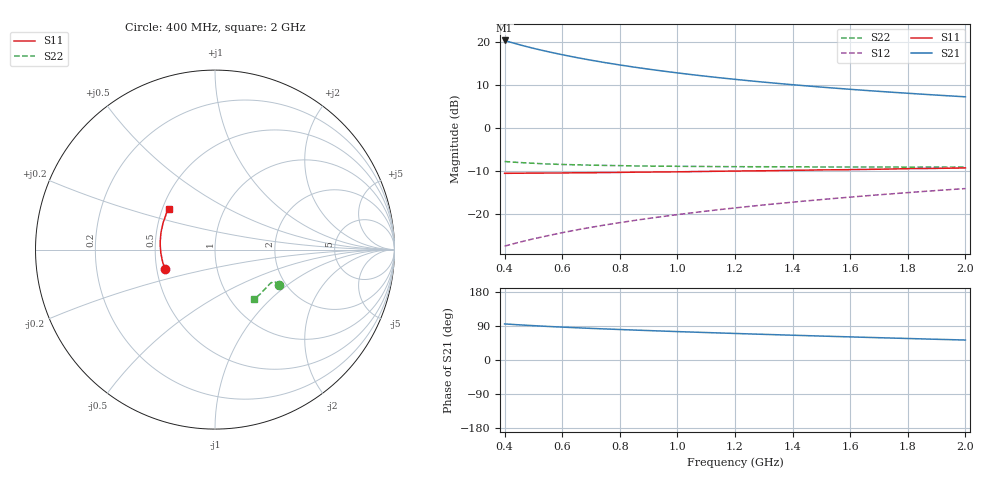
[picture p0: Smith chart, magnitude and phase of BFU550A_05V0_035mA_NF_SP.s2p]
! Filename:  P:\Prog\Test\Noise\ATS_data\Testdata_Net\06 Compressed Noise after Statistics\BFU550A_APG2013_35_C05_05p0V_035mA_NF_CM01_D.sf
! Date/Time: Tue 16/Apr/2013 15:11:27
! BFU550A_APG2013_35_C05_05p0V_1to35mA_NF_CM01_Bias8_R.sf
! Noise Parameter Data File
! BFU550A_APG2013_35_C05_05p0V_1to35mA_SP_CM01
! Date/time: Mon Apr 15 16:43:38 2013
! VAR V_out= 5.000000
! VAR I_out= 35.000000
! VAR V_in= 0.831500
! VAR I_in= 0.393200
! Device data file deembeded for feedlines and parallel
! Original file: \06 Compressed Noise after Statistics\BFU550A_APG2013_35_C05_05p0V_035mA_NF_CM01_R.sf
! Feed-files: PR017V01_150413_Feed1.s2p, PR017V01_150413_Feed2.s2p
! Parallel-file: PR017V01_150413_Par.s2p
# MHz S MA R 50
!  Freq-MHz  S11-mag  S11-arg  S21-mag  S21-arg  S12-mag  S12-arg  S22-mag  S22-arg
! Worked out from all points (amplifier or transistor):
!   37 points, 400 MHz to 2 GHz, reference 50 ohm
!   highest |S21| = 20.4 dB at 400 MHz (marker M1)
!   |S21| within 3 dB of that: start of sweep to 578 MHz
!   unconditionally stable (mu >= 1): 580.9 MHz to 1.545 GHz
!   at 500 MHz: K = 0.99, MSG = 22.2 dB, |S12| = -25.8 dB
!   at 1.1 GHz: K = 1.02, MAG = 14.9 dB, |S12| = -19.3 dB
!   at 2 GHz: K = 0.97, MSG = 10.7 dB, |S12| = -14.1 dB
!   lowest NFmin = 1.37 dB at 400 MHz
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400  0.2978 -158.9  10.46 95.3  0.04232 74.2  0.4091 -28.8
420  0.298 -160.8  9.994 94.2  0.04418 74.5  0.4041 -28.7
440  0.2987 -162.6  9.57 93.3  0.04601 74.6  0.4001 -28.6
460  0.2986 -164.1  9.174 92.4  0.04782 74.9  0.3965 -28.5
480  0.2997 -165.6  8.814 91.5  0.04966 75.1  0.3928 -28.4
500  0.2995 -167.2  8.478 90.7  0.05152 75.2  0.3901 -28.4
550  0.3004 -170.7  7.757 88.6  0.05601 75.6  0.3822 -28.2
600  0.3007 -173.7  7.144 86.8  0.06076 75.8  0.3778 -28.4
650  0.3024 -176.5  6.619 85.1  0.06541 76.0  0.374 -28.7
700  0.3027 -179.0  6.167 83.4  0.0701 76.1  0.3709 -29.1
750  0.3042 178.6  5.771 81.9  0.07478 76.2  0.3681 -29.4
800  0.3054 176.3  5.428 80.5  0.07949 76.2  0.3661 -30.0
850  0.3071 174.1  5.122 79.0  0.08422 76.2  0.3633 -30.5
950  0.3093 170.0  4.608 76.3  0.09373 76.1  0.3606 -31.9
1050  0.3118 166.3  4.188 73.7  0.1034 75.9  0.3586 -33.2
1150  0.3152 162.8  3.843 71.2  0.113 75.6  0.3565 -34.8
1200  0.3165 161.1  3.692 70.0  0.1179 75.4  0.3561 -35.7
1350  0.3204 156.3  3.307 66.5  0.1326 74.7  0.355 -38.4
1500  0.3267 151.8  2.999 63.1  0.1475 73.9  0.353 -41.2
1600  0.3289 148.9  2.828 61.0  0.1575 73.3  0.3531 -43.1
1750  0.3348 144.9  2.607 57.8  0.1726 72.3  0.3524 -46.1
2000  0.3442 138.6  2.312 52.7  0.198 70.5  0.3523 -51.6
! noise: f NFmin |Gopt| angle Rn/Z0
400  1.367  0.3772  -167.1  0.0913
460  1.415  0.3904  -164.8  0.0816
600  1.51  0.3916  -159.8  0.0905
800  1.493  0.419  -155  0.0914
1000  1.551  0.4411  -148.1  0.0992
1200  1.611  0.4561  -141.5  0.1194
1400  1.678  0.4706  -135.9  0.1403
1600  1.708  0.4968  -130.1  0.1676
1800  1.719  0.5234  -127  0.1839
2000  1.815  0.5244  -118.9  0.2403
